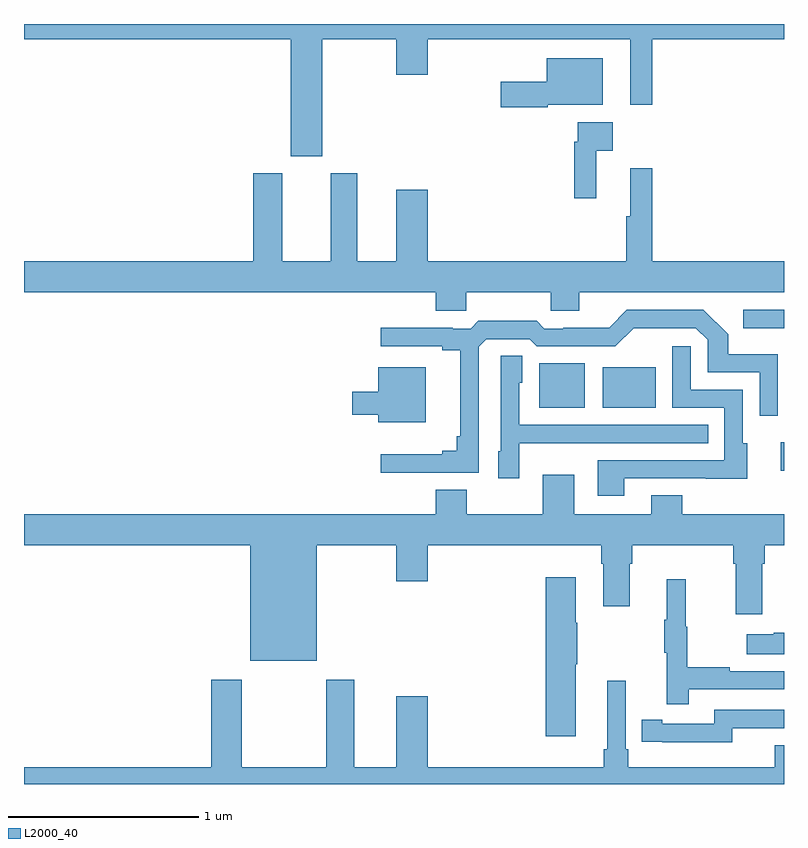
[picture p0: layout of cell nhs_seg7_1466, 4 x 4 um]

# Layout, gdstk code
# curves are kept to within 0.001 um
import gdstk
lib = gdstk.Library(unit=1e-6, precision=1e-09)
def R(c, l, rs):  # rectangles x0, y0, x1, y1
    for r in rs: c.add(gdstk.rectangle(r[:2], r[2:], *l))
def P(c, l, *ps):  # polygons
    for p in ps: c.add(gdstk.Polygon(p, *l))
L2000_40 = (2000, 40)

nhs_seg7_1466 = lib.new_cell('nhs_seg7_1466')
R(nhs_seg7_1466, L2000_40, [(214.983,1027.65,215,1027.798), (213.713,1027.979,213.952,1028.215), (214.046,1027.979,214.324,1028.194), (214.785,1028.399,215,1028.496)])
P(nhs_seg7_1466, L2000_40, [(211,1029.92),(212.405,1029.92),(212.405,1029.305),(212.569,1029.305),(212.569,1029.92),(212.96,1029.92),(212.96,1029.732),(213.124,1029.732),(213.124,1029.92),(214.19,1029.92),(214.19,1029.576),(214.307,1029.576),(214.307,1029.92),(215,1029.92),(215,1030),(211,1030)],
  [(213.756,1029.575),(214.045,1029.575),(214.045,1029.82),(213.752,1029.82),(213.752,1029.697),(213.51,1029.697),(213.51,1029.563),(213.756,1029.563)],
  [(214.013,1029.332),(214.099,1029.332),(214.099,1029.484),(213.915,1029.484),(213.915,1029.38),(213.895,1029.38),(213.895,1029.084),(214.013,1029.084)],
  [(213.327,1028.588),(213.772,1028.588),(213.772,1028.49),(213.922,1028.49),(213.922,1028.588),(215,1028.588),(215,1028.752),(214.307,1028.752),(214.307,1029.241),(214.19,1029.241),(214.19,1028.988),(214.171,1028.988),(214.171,1028.752),(213.124,1028.752),(213.124,1029.127),(212.96,1029.127),(212.96,1028.752),(212.755,1028.752),(212.755,1029.214),(212.615,1029.214),(212.615,1028.752),(212.359,1028.752),(212.359,1029.214),(212.207,1029.214),(212.207,1028.752),(211,1028.752),(211,1028.588),(213.167,1028.588),(213.167,1028.49),(213.327,1028.49)],
  [(213.393,1028.301),(213.432,1028.34),(213.663,1028.34),(213.699,1028.304),(214.113,1028.304),(214.208,1028.399),(214.536,1028.4),(214.599,1028.337),(214.599,1028.166),(214.872,1028.166),(214.872,1027.938),(214.968,1027.938),(214.968,1028.263),(214.707,1028.263),(214.707,1028.366),(214.576,1028.496),(214.173,1028.496),(214.079,1028.402),(213.838,1028.402),(213.838,1028.397),(213.738,1028.397),(213.699,1028.437),(213.391,1028.437),(213.351,1028.397),(213.257,1028.397),(213.257,1028.402),(212.877,1028.402),(212.877,1028.304),(213.2,1028.304),(213.2,1028.282),(213.296,1028.282),(213.296,1027.831),(213.277,1027.831),(213.277,1027.754),(213.2,1027.754),(213.2,1027.735),(212.877,1027.735),(212.877,1027.638),(213.393,1027.638)],
  [(214.159,1027.608),(214.589,1027.608),(214.589,1027.607),(214.807,1027.607),(214.807,1027.794),(214.782,1027.794),(214.782,1028.076),(214.509,1028.076),(214.509,1028.305),(214.413,1028.305),(214.413,1027.98),(214.686,1027.98),(214.686,1027.704),(214.019,1027.704),(214.019,1027.518),(214.159,1027.518)],
  [(213.606,1027.793),(213.923,1027.793),(213.923,1027.794),(214.601,1027.794),(214.601,1027.89),(213.606,1027.89),(213.606,1028.112),(213.622,1028.112),(213.622,1028.255),(213.51,1028.255),(213.51,1027.752),(213.497,1027.752),(213.497,1027.608),(213.606,1027.608)],
  [(213.115,1028.194),(212.864,1028.194),(212.864,1028.065),(212.727,1028.065),(212.727,1027.943),(212.864,1027.943),(212.864,1027.904),(213.115,1027.904)],
  [(212.542,1027.256),(212.96,1027.256),(212.96,1027.068),(213.124,1027.068),(213.124,1027.256),(214.037,1027.256),(214.037,1027.16),(214.049,1027.16),(214.049,1026.936),(214.189,1026.936),(214.189,1027.16),(214.202,1027.16),(214.202,1027.256),(214.733,1027.256),(214.733,1027.16),(214.745,1027.16),(214.745,1026.894),(214.885,1026.894),(214.885,1027.16),(214.898,1027.16),(214.898,1027.256),(215,1027.256),(215,1027.42),(214.465,1027.42),(214.465,1027.519),(214.301,1027.519),(214.301,1027.42),(213.895,1027.42),(213.895,1027.627),(213.731,1027.627),(213.731,1027.42),(213.331,1027.42),(213.331,1027.549),(213.167,1027.549),(213.167,1027.42),(211,1027.42),(211,1027.256),(212.192,1027.256),(212.192,1026.65),(212.542,1026.65)],
  [(213.904,1026.631),(213.912,1026.631),(213.912,1026.848),(213.904,1026.848),(213.904,1027.087),(213.746,1027.087),(213.746,1026.252),(213.904,1026.252)],
  [(214.499,1026.498),(215,1026.498),(215,1026.594),(214.715,1026.594),(214.715,1026.614),(214.492,1026.614),(214.492,1026.828),(214.484,1026.828),(214.484,1027.078),(214.382,1027.078),(214.382,1026.865),(214.371,1026.865),(214.371,1026.691),(214.382,1026.691),(214.382,1026.42),(214.499,1026.42)],
  [(215,1026.797),(214.946,1026.797),(214.946,1026.787),(214.803,1026.787),(214.803,1026.683),(215,1026.683)],
  [(215,1026.205),(214.952,1026.205),(214.952,1026.088),(214.181,1026.088),(214.181,1026.184),(214.167,1026.184),(214.167,1026.544),(214.07,1026.544),(214.07,1026.184),(214.051,1026.184),(214.051,1026.088),(213.124,1026.088),(213.124,1026.463),(212.96,1026.463),(212.96,1026.088),(212.737,1026.088),(212.737,1026.55),(212.59,1026.55),(212.59,1026.088),(212.145,1026.088),(212.145,1026.55),(211.985,1026.55),(211.985,1026.088),(211,1026.088),(211,1026),(215,1026)],
  [(214.728,1026.294),(215,1026.294),(215,1026.39),(214.632,1026.39),(214.632,1026.318),(214.36,1026.318),(214.36,1026.338),(214.252,1026.338),(214.252,1026.222),(214.36,1026.222),(214.36,1026.221),(214.728,1026.221)])

lib.write_gds('nhs_seg7_1466.gds')
